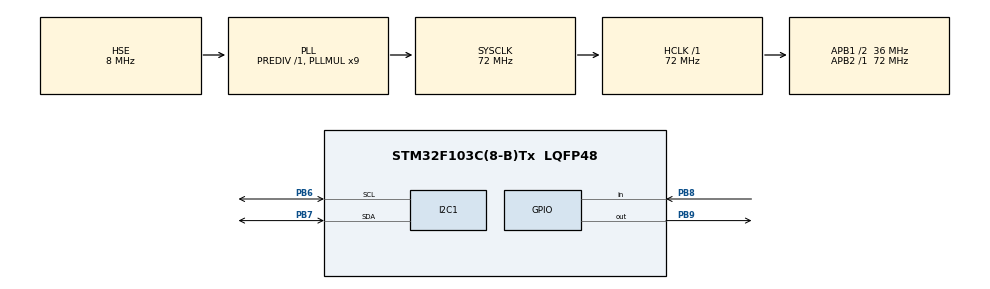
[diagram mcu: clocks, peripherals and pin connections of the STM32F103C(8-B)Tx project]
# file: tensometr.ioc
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Mcu.Family=STM32F1
Mcu.Name=STM32F103C(8-B)Tx
Mcu.Package=LQFP48
NVIC.PriorityGroup=NVIC_PRIORITYGROUP_4
PA13.Mode=Serial_Wire
PA13.Signal=SYS_JTMS-SWDIO
PA14.Mode=Serial_Wire
PA14.Signal=SYS_JTCK-SWCLK
PB6.Mode=I2C
PB6.Signal=I2C1_SCL
PB7.Mode=I2C
PB7.Signal=I2C1_SDA
PB8.Signal=GPIO_Input
PB9.Signal=GPIO_Output
PD0-OSC_IN.Mode=HSE-External-Oscillator
PD0-OSC_IN.Signal=RCC_OSC_IN
PD1-OSC_OUT.Mode=HSE-External-Oscillator
PD1-OSC_OUT.Signal=RCC_OSC_OUT
ProjectManager.HeapSize=0x200
ProjectManager.StackSize=0x400
ProjectManager.TargetToolchain=STM32CubeIDE
RCC.AHBFreq_Value=72000000
RCC.APB1CLKDivider=RCC_HCLK_DIV2
RCC.APB1Freq_Value=36000000
RCC.APB1TimFreq_Value=72000000
RCC.APB2Freq_Value=72000000
RCC.APB2TimFreq_Value=72000000
RCC.HCLKFreq_Value=72000000
RCC.PLLMUL=RCC_PLL_MUL9
RCC.PLLSourceVirtual=RCC_PLLSOURCE_HSE
RCC.SYSCLKFreq_VALUE=72000000
RCC.SYSCLKSource=RCC_SYSCLKSOURCE_PLLCLK
RCC.USBFreq_Value=72000000
TIM2.Prescaler=71
VP_TIM2_VS_ClockSourceINT.Mode=Internal
board=custom

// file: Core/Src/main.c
/* USER CODE BEGIN Header */
/**
  ******************************************************************************
  * @file           : main.c
  * @brief          : Main program body
  ******************************************************************************
  * @attention
  *
  * Copyright (c) 2025 STMicroelectronics.
  * All rights reserved.
  *
  * This software is licensed under terms that can be found in the LICENSE file
  * in the root directory of this software component.
  * If no LICENSE file comes with this software, it is provided AS-IS.
  *
  ******************************************************************************
  */
/* USER CODE END Header */
#include "main.h"

/* USER CODE BEGIN Includes */
	#include <stdio.h>
	#include "ssd1306_conf_template.h"
	#include "ssd1306.h"
	#include "font.h"
/* USER CODE END Includes */

I2C_HandleTypeDef hi2c1;

TIM_HandleTypeDef htim2;

void SystemClock_Config(void);
static void MX_GPIO_Init(void);
static void MX_TIM2_Init(void);
static void MX_I2C1_Init(void);

/* USER CODE BEGIN 0 */
#define DT_PIN GPIO_PIN_8
#define DT_PORT GPIOB
#define SCK_PIN GPIO_PIN_9
#define SCK_PORT GPIOB

uint32_t tare = 8161883;
float knownOriginal = 1500000;  // in milli gram
float knownHX711 = 31200;
int weight;

void microDelay(uint16_t delay)
{
  __HAL_TIM_SET_COUNTER(&htim2, 0);
  while (__HAL_TIM_GET_COUNTER(&htim2) < delay);
}

int32_t getHX711(void)
{
  uint32_t data = 0;
  uint32_t startTime = HAL_GetTick();
  while(HAL_GPIO_ReadPin(DT_PORT, DT_PIN) == GPIO_PIN_SET)
  {
    if(HAL_GetTick() - startTime > 200)
      return 0;
  }
  for(int8_t len=0; len<24 ; len++)
  {
    HAL_GPIO_WritePin(SCK_PORT, SCK_PIN, GPIO_PIN_SET);
    microDelay(1);
    data = data << 1;
    HAL_GPIO_WritePin(SCK_PORT, SCK_PIN, GPIO_PIN_RESET);
    microDelay(1);
    if(HAL_GPIO_ReadPin(DT_PORT, DT_PIN) == GPIO_PIN_SET)
      data ++;
  }
  data = data ^ 0x800000;
  HAL_GPIO_WritePin(SCK_PORT, SCK_PIN, GPIO_PIN_SET);
  microDelay(1);
  HAL_GPIO_WritePin(SCK_PORT, SCK_PIN, GPIO_PIN_RESET);
  microDelay(1);
  return data;
}

int weigh()
{
  int32_t  total = 0;
  int32_t  samples = 5;
  int milligram;
  float g;
  float coefficient;
  for(uint16_t i=0 ; i<samples ; i++)
  {
      total += getHX711();
  }
  int32_t average = (int32_t)(total / samples);
  coefficient = knownOriginal / knownHX711;
  milligram = (int)(average-tare)*coefficient;
  g = milligram/1000;
  return g;
}
/* USER CODE END 0 */

int main(void)
{

  /* MCU Configuration--------------------------------------------------------*/

  /* Reset of all peripherals, Initializes the Flash interface and the Systick. */
  HAL_Init();

  /* Configure the system clock */
  SystemClock_Config();

  /* Initialize all configured peripherals */
  MX_GPIO_Init();
  MX_TIM2_Init();
  MX_I2C1_Init();
  /* USER CODE BEGIN 2 */
  	HAL_TIM_Base_Start(&htim2);
	HAL_GPIO_WritePin(SCK_PORT, SCK_PIN, GPIO_PIN_SET);
	HAL_Delay(10);
	HAL_GPIO_WritePin(SCK_PORT, SCK_PIN, GPIO_PIN_RESET);
	HAL_Delay(10);

	ssd1306_Init();
		// Wypełnianie ekranu kolorem czarnym (czyszczenie)
	ssd1306_Fill(0x00);

	// Ustawienie kursora w lewym górnym rogu (0, 0)
	ssd1306_SetCursor(20, 30);

	// Wybór czcionki (możesz użyć innych czcionek, np. `Font_7x10`)
	ssd1306_WriteString("Hello STM32!", Font_7x10, 0x01);

	// Aktualizacja ekranu, aby zmiany się wyświetliły
	ssd1306_UpdateScreen();
  /* USER CODE END 2 */

  /* Infinite loop */
  while (1)
  {
	  /* USER CODE END WHILE */
	  ssd1306_Fill(0x00);
	  	  weight = (-1)*weigh(); // in milligram
	      /* USER CODE BEGIN 3 */
	  	  char weight_str[10];  // Tablica na tekst z wynikiem
	  	      sprintf(weight_str, "%d g", weight);  // Zmienna 'weight' w formacie "xxx mg"

	  	      // Ustawienie kursora w odpowiedniej pozycji na ekranie
	  	      ssd1306_SetCursor(0, 0);  // Możesz dostosować pozycję
	  	      ssd1306_WriteString("Value  ", Font_7x10, 0x01);
	  	      // Wyświetlenie wyniku na ekranie
	  	      ssd1306_WriteString(weight_str, Font_7x10, 0x01);  // Pokaż wynik w mg

	  	      // Aktualizacja ekranu
	  	      ssd1306_UpdateScreen();

	  	      /* USER CODE BEGIN 3 */
	  	   // Dodatkowe opóźnienie, aby wynik był czytelny
	  	    }
    /* USER CODE BEGIN 3 */
  /* USER CODE END 3 */
	}

void SystemClock_Config(void)
{
  RCC_OscInitTypeDef RCC_OscInitStruct = {0};
  RCC_ClkInitTypeDef RCC_ClkInitStruct = {0};

  /** Initializes the RCC Oscillators according to the specified parameters
  * in the RCC_OscInitTypeDef structure.
  */
  RCC_OscInitStruct.OscillatorType = RCC_OSCILLATORTYPE_HSE;
  RCC_OscInitStruct.HSEState = RCC_HSE_ON;
  RCC_OscInitStruct.HSEPredivValue = RCC_HSE_PREDIV_DIV1;
  RCC_OscInitStruct.HSIState = RCC_HSI_ON;
  RCC_OscInitStruct.PLL.PLLState = RCC_PLL_ON;
  RCC_OscInitStruct.PLL.PLLSource = RCC_PLLSOURCE_HSE;
  RCC_OscInitStruct.PLL.PLLMUL = RCC_PLL_MUL9;
  if (HAL_RCC_OscConfig(&RCC_OscInitStruct) != HAL_OK)
  {
    Error_Handler();
  }

  /** Initializes the CPU, AHB and APB buses clocks
  */
  RCC_ClkInitStruct.ClockType = RCC_CLOCKTYPE_HCLK|RCC_CLOCKTYPE_SYSCLK
                              |RCC_CLOCKTYPE_PCLK1|RCC_CLOCKTYPE_PCLK2;
  RCC_ClkInitStruct.SYSCLKSource = RCC_SYSCLKSOURCE_PLLCLK;
  RCC_ClkInitStruct.AHBCLKDivider = RCC_SYSCLK_DIV1;
  RCC_ClkInitStruct.APB1CLKDivider = RCC_HCLK_DIV2;
  RCC_ClkInitStruct.APB2CLKDivider = RCC_HCLK_DIV1;

  if (HAL_RCC_ClockConfig(&RCC_ClkInitStruct, FLASH_LATENCY_2) != HAL_OK)
  {
    Error_Handler();
  }
}

static void MX_I2C1_Init(void)
{

  hi2c1.Instance = I2C1;
  hi2c1.Init.ClockSpeed = 100000;
  hi2c1.Init.DutyCycle = I2C_DUTYCYCLE_2;
  hi2c1.Init.OwnAddress1 = 0;
  hi2c1.Init.AddressingMode = I2C_ADDRESSINGMODE_7BIT;
  hi2c1.Init.DualAddressMode = I2C_DUALADDRESS_DISABLE;
  hi2c1.Init.OwnAddress2 = 0;
  hi2c1.Init.GeneralCallMode = I2C_GENERALCALL_DISABLE;
  hi2c1.Init.NoStretchMode = I2C_NOSTRETCH_DISABLE;
  if (HAL_I2C_Init(&hi2c1) != HAL_OK)
  {
    Error_Handler();
  }

}

static void MX_TIM2_Init(void)
{

  TIM_ClockConfigTypeDef sClockSourceConfig = {0};
  TIM_MasterConfigTypeDef sMasterConfig = {0};

  htim2.Instance = TIM2;
  htim2.Init.Prescaler = 71;
  htim2.Init.CounterMode = TIM_COUNTERMODE_UP;
  htim2.Init.Period = 65535;
  htim2.Init.ClockDivision = TIM_CLOCKDIVISION_DIV1;
  htim2.Init.AutoReloadPreload = TIM_AUTORELOAD_PRELOAD_DISABLE;
  if (HAL_TIM_Base_Init(&htim2) != HAL_OK)
  {
    Error_Handler();
  }
  sClockSourceConfig.ClockSource = TIM_CLOCKSOURCE_INTERNAL;
  if (HAL_TIM_ConfigClockSource(&htim2, &sClockSourceConfig) != HAL_OK)
  {
    Error_Handler();
  }
  sMasterConfig.MasterOutputTrigger = TIM_TRGO_RESET;
  sMasterConfig.MasterSlaveMode = TIM_MASTERSLAVEMODE_DISABLE;
  if (HAL_TIMEx_MasterConfigSynchronization(&htim2, &sMasterConfig) != HAL_OK)
  {
    Error_Handler();
  }

}

static void MX_GPIO_Init(void)
{
  GPIO_InitTypeDef GPIO_InitStruct = {0};

  /* GPIO Ports Clock Enable */
  __HAL_RCC_GPIOD_CLK_ENABLE();
  __HAL_RCC_GPIOA_CLK_ENABLE();
  __HAL_RCC_GPIOB_CLK_ENABLE();

  /*Configure GPIO pin Output Level */
  HAL_GPIO_WritePin(GPIOB, GPIO_PIN_9, GPIO_PIN_RESET);

  /*Configure GPIO pin : PB8 */
  GPIO_InitStruct.Pin = GPIO_PIN_8;
  GPIO_InitStruct.Mode = GPIO_MODE_INPUT;
  GPIO_InitStruct.Pull = GPIO_NOPULL;
  HAL_GPIO_Init(GPIOB, &GPIO_InitStruct);

  /*Configure GPIO pin : PB9 */
  GPIO_InitStruct.Pin = GPIO_PIN_9;
  GPIO_InitStruct.Mode = GPIO_MODE_OUTPUT_PP;
  GPIO_InitStruct.Pull = GPIO_NOPULL;
  GPIO_InitStruct.Speed = GPIO_SPEED_FREQ_LOW;
  HAL_GPIO_Init(GPIOB, &GPIO_InitStruct);

}

void Error_Handler(void)
{
  __disable_irq();
  while (1)
  {
  }
}
